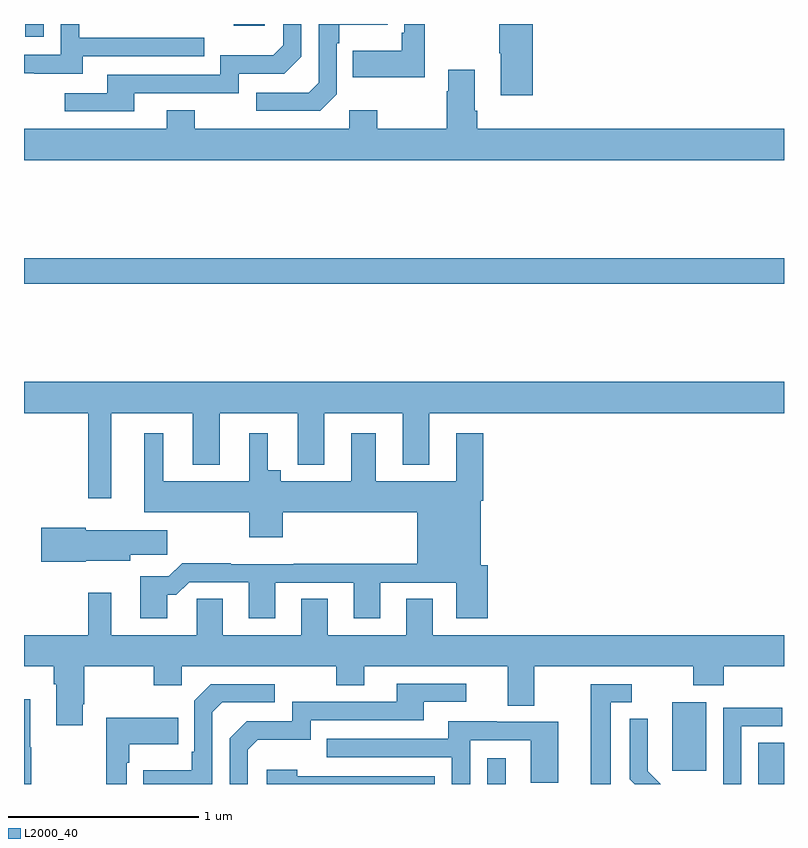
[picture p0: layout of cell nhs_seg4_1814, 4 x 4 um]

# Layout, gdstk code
import gdstk
lib = gdstk.Library(unit=1e-6, precision=1e-09)
def R(c, l, rs):  # rectangles x0, y0, x1, y1
    for r in rs: c.add(gdstk.rectangle(r[:2], r[2:], *l))
def P(c, l, *ps):  # polygons
    for p in ps: c.add(gdstk.Polygon(p, *l))
L2000_40 = (2000, 40)

nhs_seg4_1814 = lib.new_cell('nhs_seg4_1814')
R(nhs_seg4_1814, L2000_40, [(207.438,762.9,207.535,763.036), (208.865,762.9,209,763.118), (208.412,762.969,208.591,763.33), (205,765.532,209,765.668), (205.007,766.833,205.104,766.9), (206.105,766.892,206.266,766.9)])
P(nhs_seg4_1814, L2000_40, [(206.646,766.53),(206.646,766.799),(206.659,766.799),(206.659,766.895),(206.915,766.895),(206.915,766.9),(206.55,766.9),(206.55,766.59),(206.499,766.539),(206.223,766.539),(206.223,766.443),(206.559,766.443)],
  [(207.109,766.9),(207,766.9),(207,766.855),(206.988,766.855),(206.988,766.759),(206.731,766.759),(206.731,766.619),(207.109,766.619)],
  [(205.309,766.731),(205.949,766.731),(205.949,766.827),(205.29,766.827),(205.29,766.9),(205.194,766.9),(205.194,766.737),(205,766.737),(205,766.641),(205.055,766.641),(205.055,766.637),(205.309,766.637)],
  [(207.677,766.9),(207.502,766.9),(207.502,766.747),(207.509,766.747),(207.509,766.524),(207.677,766.524)],
  [(205.579,766.536),(206.13,766.536),(206.13,766.638),(206.37,766.638),(206.46,766.728),(206.46,766.9),(206.364,766.9),(206.364,766.788),(206.311,766.735),(206.034,766.735),(206.034,766.632),(205.439,766.632),(205.439,766.536),(205.215,766.536),(205.215,766.44),(205.579,766.44)],
  [(209,766.348),(207.386,766.348),(207.386,766.444),(207.373,766.444),(207.373,766.66),(207.233,766.66),(207.233,766.547),(207.226,766.547),(207.226,766.348),(206.859,766.348),(206.859,766.447),(206.712,766.447),(206.712,766.348),(205.899,766.348),(205.899,766.447),(205.751,766.447),(205.751,766.348),(205,766.348),(205,766.184),(209,766.184)],
  [(205.459,764.852),(205.889,764.852),(205.889,764.579),(206.029,764.579),(206.029,764.852),(206.441,764.852),(206.441,764.579),(206.581,764.579),(206.581,764.852),(206.993,764.852),(206.993,764.579),(207.133,764.579),(207.133,764.852),(209,764.852),(209,765.016),(205,765.016),(205,764.852),(205.338,764.852),(205.338,764.403),(205.459,764.403)],
  [(205.753,763.895),(205.802,763.895),(205.869,763.962),(206.183,763.962),(206.183,763.773),(206.323,763.773),(206.323,763.959),(206.735,763.959),(206.735,763.773),(206.875,763.773),(206.875,763.959),(207.275,763.959),(207.275,763.773),(207.44,763.773),(207.44,764.052),(207.403,764.052),(207.403,764.39),(207.416,764.39),(207.416,764.746),(207.275,764.746),(207.275,764.494),(206.851,764.494),(206.851,764.746),(206.723,764.746),(206.723,764.494),(206.35,764.494),(206.35,764.551),(206.284,764.551),(206.284,764.746),(206.186,764.746),(206.186,764.494),(205.732,764.494),(205.732,764.746),(205.634,764.746),(205.634,764.33),(206.185,764.33),(206.185,764.199),(206.363,764.199),(206.363,764.33),(207.071,764.33),(207.071,764.06),(206.419,764.06),(206.419,764.056),(206.087,764.056),(206.087,764.063),(205.832,764.063),(205.762,763.993),(205.613,763.993),(205.613,763.773),(205.753,763.773)],
  [(205.326,764.075),(205.558,764.075),(205.558,764.107),(205.753,764.107),(205.753,764.236),(205.326,764.236),(205.326,764.249),(205.092,764.249),(205.092,764.071),(205.326,764.071)],
  [(205.309,763.321),(205.317,763.321),(205.317,763.52),(205.684,763.52),(205.684,763.421),(205.83,763.421),(205.83,763.52),(206.644,763.52),(206.644,763.421),(206.791,763.421),(206.791,763.52),(207.545,763.52),(207.545,763.312),(207.685,763.312),(207.685,763.52),(208.522,763.52),(208.522,763.421),(208.682,763.421),(208.682,763.52),(209,763.52),(209,763.684),(207.151,763.684),(207.151,763.874),(207.011,763.874),(207.011,763.684),(206.599,763.684),(206.599,763.874),(206.459,763.874),(206.459,763.684),(206.047,763.684),(206.047,763.874),(205.908,763.874),(205.908,763.684),(205.459,763.684),(205.459,763.906),(205.338,763.906),(205.338,763.684),(205,763.684),(205,763.52),(205.157,763.52),(205.157,763.424),(205.169,763.424),(205.169,763.209),(205.309,763.209)],
  [(206.178,763.08),(206.231,763.133),(206.508,763.133),(206.508,763.236),(207.103,763.236),(207.103,763.332),(207.328,763.332),(207.328,763.428),(206.963,763.428),(206.963,763.332),(206.412,763.332),(206.412,763.23),(206.172,763.23),(206.082,763.14),(206.082,762.9),(206.178,762.9)],
  [(208.087,763.329),(208.198,763.329),(208.198,763.425),(207.983,763.425),(207.983,762.9),(208.087,762.9)],
  [(205.992,763.278),(206.043,763.329),(206.32,763.329),(206.32,763.425),(205.983,763.425),(205.896,763.338),(205.896,763.069),(205.884,763.069),(205.884,762.973),(205.627,762.973),(205.627,762.9),(205.992,762.9)],
  [(205.039,763.093),(205.033,763.093),(205.033,763.345),(205,763.345),(205,762.9),(205.039,762.9)],
  [(208.776,763.203),(208.99,763.203),(208.99,763.302),(208.68,763.302),(208.68,762.9),(208.776,762.9)],
  [(205.542,763.013),(205.555,763.013),(205.555,763.109),(205.811,763.109),(205.811,763.249),(205.434,763.249),(205.434,762.9),(205.542,762.9)],
  [(208.283,762.968),(208.283,763.09),(208.284,763.09),(208.284,763.244),(208.188,763.244),(208.188,762.926),(208.214,762.9),(208.35,762.9)],
  [(207.348,763.131),(207.666,763.131),(207.666,762.907),(207.811,762.907),(207.811,763.227),(207.487,763.227),(207.487,763.231),(207.233,763.231),(207.233,763.137),(206.593,763.137),(206.593,763.041),(207.252,763.041),(207.252,762.9),(207.348,762.9)],
  [(207.162,762.942),(206.438,762.942),(206.438,762.976),(206.277,762.976),(206.277,762.9),(207.162,762.9)])

lib.write_gds('nhs_seg4_1814.gds')
